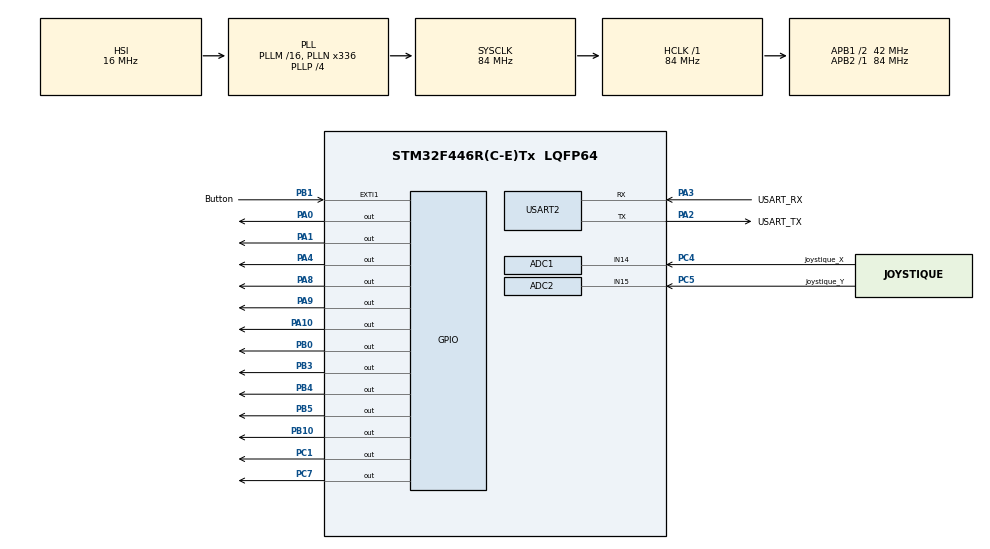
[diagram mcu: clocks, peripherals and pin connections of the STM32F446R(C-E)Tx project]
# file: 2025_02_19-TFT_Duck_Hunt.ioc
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ADC1.Channel-0\#ChannelRegularConversion=ADC_CHANNEL_14
ADC1.NbrOfConversionFlag=1
ADC1.Rank-0\#ChannelRegularConversion=1
ADC1.SamplingTime-0\#ChannelRegularConversion=ADC_SAMPLETIME_3CYCLES
ADC1.master=1
ADC2.Channel-0\#ChannelRegularConversion=ADC_CHANNEL_15
ADC2.NbrOfConversionFlag=1
ADC2.Rank-0\#ChannelRegularConversion=1
ADC2.SamplingTime-0\#ChannelRegularConversion=ADC_SAMPLETIME_3CYCLES
Mcu.Family=STM32F4
Mcu.Name=STM32F446R(C-E)Tx
Mcu.Package=LQFP64
NVIC.EXTI1_IRQn=true\:0\:0\:false\:false\:true\:true\:true\:true
NVIC.PriorityGroup=NVIC_PRIORITYGROUP_0
PA0-WKUP.Signal=GPIO_Output
PA1.Signal=GPIO_Output
PA10.Signal=GPIO_Output
PA13.GPIO_Label=TMS
PA13.Mode=Serial_Wire
PA13.Signal=SYS_JTMS-SWDIO
PA14.GPIO_Label=TCK
PA14.Mode=Serial_Wire
PA14.Signal=SYS_JTCK-SWCLK
PA2.GPIO_Label=USART_TX
PA2.Mode=Asynchronous
PA2.Signal=USART2_TX
PA3.GPIO_Label=USART_RX
PA3.Mode=Asynchronous
PA3.Signal=USART2_RX
PA4.Signal=GPIO_Output
PA8.Signal=GPIO_Output
PA9.Signal=GPIO_Output
PB0.Signal=GPIO_Output
PB1.GPIO_Label=Button
PB1.GPIO_ModeDefaultEXTI=GPIO_MODE_IT_FALLING
PB1.Signal=GPXTI1
PB10.Signal=GPIO_Output
PB3.Signal=GPIO_Output
PB4.Signal=GPIO_Output
PB5.Signal=GPIO_Output
PC1.Signal=GPIO_Output
PC14-OSC32_IN.Mode=LSE-External-Oscillator
PC14-OSC32_IN.Signal=RCC_OSC32_IN
PC15-OSC32_OUT.Mode=LSE-External-Oscillator
PC15-OSC32_OUT.Signal=RCC_OSC32_OUT
PC4.GPIO_Label=Joystique_X
PC4.Signal=ADCx_IN14
PC5.GPIO_Label=Joystique_Y
PC5.Signal=ADCx_IN15
PC7.Signal=GPIO_Output
PH0-OSC_IN.Mode=HSE-External-Oscillator
PH0-OSC_IN.Signal=RCC_OSC_IN
PH1-OSC_OUT.Mode=HSE-External-Oscillator
PH1-OSC_OUT.Signal=RCC_OSC_OUT
ProjectManager.HeapSize=0x200
ProjectManager.StackSize=0x400
ProjectManager.TargetToolchain=STM32CubeIDE
RCC.48MHZClocksFreq_Value=84000000
RCC.AHBFreq_Value=84000000
RCC.APB1CLKDivider=RCC_HCLK_DIV2
RCC.APB1Freq_Value=42000000
RCC.APB1TimFreq_Value=84000000
RCC.APB2Freq_Value=84000000
RCC.APB2TimFreq_Value=84000000
RCC.CortexFreq_Value=84000000
RCC.FLatency-AdvancedSettings=FLASH_LATENCY_2
RCC.HCLKFreq_Value=84000000
RCC.HSE_VALUE=8000000
RCC.HSI_VALUE=16000000
RCC.PLLN=336
RCC.PLLP=RCC_PLLP_DIV4
RCC.SYSCLKFreq_VALUE=84000000
RCC.SYSCLKSource=RCC_SYSCLKSOURCE_PLLCLK
RCC.USBFreq_Value=168000000
RCC.VCOOutputFreq_Value=336000000
SH.ADCx_IN14.0=ADC1_IN14,IN14
SH.ADCx_IN15.0=ADC2_IN15,IN15
TIM1.AutoReloadPreload=TIM_AUTORELOAD_PRELOAD_ENABLE
TIM1.Period=0xFFFF-1
TIM1.Prescaler=84-1
USART2.VirtualMode=VM_ASYNC
VP_TIM1_VS_ClockSourceINT.Mode=Internal
board=NUCLEO-F446RE

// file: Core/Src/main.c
/* USER CODE BEGIN Header */
/**
  ******************************************************************************
  * @modify    		: 02/27/2025
  * @version		: V2.2
  * @project        : Duck_Hunt
  * @designer       : André_Arino
  * @start data    	: 02/19/2025
  * @file           : main.c
  * @brief          : Main program body
  * @Hardware       : Nucleo F446RE Development Kit
  * @Dependences    : TFT Lib | Duck.c and Target.c Vectors Imagens
  ******************************************************************************
  * @attention
  *
  * Copyright (c) 2025 STMicroelectronics.
  * All rights reserved.
  *
  * This software is licensed under terms that can be found in the LICENSE file
  * in the root directory of this software component.
  * If no LICENSE file comes with this software, it is provided AS-IS.
  *
  ******************************************************************************
  */
/* USER CODE END Header */
#include "main.h"

/* USER CODE BEGIN Includes */
#include "fonts.h"	// Biblioteca de Fontes para TFT
#include "tft.h"	// Biblioteca para TFT
#include "user_setting.h"	// Biblioteca de Ajustes para o TFT
#include "stdlib.h"	// Inclusão de stdlib.h para alocação de memória
#include "stm32f4xx_hal_adc.h" // Inclusão de API para ADC
/* USER CODE END Includes */

/* USER CODE BEGIN PTD */

// Cria struct de 2 elementos para guardar endereços e dados das matrizes de alocação dinâmica
typedef struct {
    int32_t address;
    int32_t address_x;
    int32_t address_y;
    uint16_t data;
} Element;

/* USER CODE END PTD */

/* USER CODE BEGIN PD */
uint16_t ID=0;
/* USER CODE END PD */

ADC_HandleTypeDef hadc1;
ADC_HandleTypeDef hadc2;

TIM_HandleTypeDef htim1;

UART_HandleTypeDef huart2;

/* USER CODE BEGIN PV */
// Vetores das Imagens
extern const unsigned short Duck[76800];	// Carrega Imagem Pato (Imagem de Fundo)
extern const unsigned short Target[76800];	// Carrega Imagem Mira (Imagem Flutuante)

// Variável para mensagens de debug
volatile char Transmissao[100]; // Variável para enviar mensagens de debug

// Variáveis Auxiliares do Programa
volatile int32_t i = 0;

// Variáveis ADC
volatile uint8_t cad_ch = 0;	// Seleciona canal do leitura do ADC
volatile uint8_t cad = 0;	// guarda valor analógico do ADC
volatile uint8_t cad_x = 0;	// guarda valor analógico do joystik x
volatile uint8_t cad_y = 0;	// guarda valor analógico do joystik y
volatile uint8_t joystique_x = 0;	// Variável para leitura do eixo x do joystique
volatile uint8_t joystique_y = 0;	// Variável para leitura do eixo y do joystique

// Flag para Interrupção no botão
volatile uint8_t shot = 0;	// Variável para leitura do botão do joystique

// Variáveis de Deslocamento do Objeto
volatile int32_t n_Object = 0;	// Define número de elementos da Matriz Object
volatile int32_t x_pixel_max = 0x00000000;  // Variável para obter a posição máxima x do pixel do Objeto
volatile int32_t x_pixel_min = 2147483647;  // Variável para obter a posição mínima x do pixel do Objeto
volatile int32_t y_pixel_max = 0x00000000;  // Variável para obter a posição máxima y do pixel do Objeto
volatile int32_t y_pixel_min = 2147483647;  // Variável para obter a posição mínima y do pixel do Objeto
volatile int32_t cx_pixel = 0;  // Variável para obter a posição central de x do pixel do Objeto
volatile int32_t cy_pixel = 0;  // Variável para obter a posição central de y do pixel do Objeto
volatile int32_t shift_x = 0;	// guarda valor analógico do joystik x
volatile int32_t shift_y = 0;	// guarda valor analógico do joystik y

/* USER CODE END PV */

void SystemClock_Config(void);
static void MX_GPIO_Init(void);
static void MX_USART2_UART_Init(void);
static void MX_TIM1_Init(void);
static void MX_ADC1_Init(void);
static void MX_ADC2_Init(void);
/* USER CODE BEGIN PFP */
uint16_t ADC_Value(uint8_t ch);
/* USER CODE END PFP */

int main(void)
{

  /* MCU Configuration--------------------------------------------------------*/

  /* Reset of all peripherals, Initializes the Flash interface and the Systick. */
  HAL_Init();

  /* USER CODE BEGIN Init */
  __set_BASEPRI (1);	// Seta Basepri para Interrupção
  // __set_PRIMASK (0);	// Nível Primask para Interrupção
  // __set_FAULTMASK (0);	// Nível Faultmask para Interrupção
  /* USER CODE END Init */

  /* Configure the system clock */
  SystemClock_Config();

  /* Initialize all configured peripherals */
  MX_GPIO_Init();
  MX_USART2_UART_Init();
  MX_TIM1_Init();
  MX_ADC1_Init();
  MX_ADC2_Init();
  /* USER CODE BEGIN 2 */
  //Sequência de inicialização do LCD
  tft_gpio_init(); //Inicializa os GPIOs do LCD (evita uso do CubeMX)
  HAL_TIM_Base_Start(&htim1); //Inicializa o Timer1 (base de tempo de us do LCD)
  ID = tft_readID(); //Lê o ID do LCD (poderia ser chamada pela inicialização do LCD)
  HAL_Delay(100);
  tft_init (ID); //Inicializa o LCD de acordo com seu ID
  tft_setRotation(3); //Ajusta a orientação da tela
  tft_fillScreen(BLACK); //Preenche a tela em uma só cor

  // Imprime no TFT o fundo da Imagem
  tft_drawRGBBitmap(1, 240, Duck, 320, 240);

  //Teste de Crição da Matriz do Objeto
  HAL_Delay(1000);	// Aguarda 1 segundo

  n_Object = 0;
  /* Análise e geração de matriz dinâmica para objeto*/
  for (i = 0; i < 76800; i++) // Percorre o tamanho da imagem
  {
	  if(Target[i] != 0xFFFF)	// Procura elementos diferentes de Branco
	  {
		  n_Object++;	// Incrementa tamanho do
	  }
  }

  // Informa o tamanho da matriz e quantidade de bytes ocupados pela serial de debug
//  sprintf(&Transmissao,"A Matriz Object Possui: %u Elemetros com %u bytes.\r\n", n_Object, (n_Object*32));
//  HAL_UART_Transmit(&huart2, (uint8_t *)Transmissao, strlen(Transmissao), HAL_MAX_DELAY);

  // Cria Matriz dinâmico para guardar Pixels e Endereços da Imagem Flutuante
  Element *arr_Object = (Element *)malloc(n_Object * sizeof(Element));
  Element *arr_Recovery = (Element *)malloc(n_Object * sizeof(Element));
  n_Object = 0;
  for (i = 0; i < 76800; i++) // Percorre o tamanho da imagem
  {
	  if(Target[i] != 0xFFFF)	// Procura elementos diferentes de Branco
	  {
		  arr_Object[n_Object].address = (i+1);	// Insere o endereço do vetor do pixel linha n_Object da Matriz
		  arr_Recovery[n_Object].address = (i+1);	// Guarda o endereço do vetor do pixel linha n_Object da Matriz
		  arr_Object[n_Object].address_x = ((i+1)-((i/320)*320));	// Insere o endereço y do pixel linha n_Object da Matriz
		  arr_Recovery[n_Object].address_x = ((i+1)-((i/320)*320));	// Guarda o endereço do vetor do pixel linha n_Object da Matriz
		  // Guarda Valores de endereço x máximo e mínimo
		  if(x_pixel_max <= arr_Object[n_Object].address_x)
		  {
			  x_pixel_max = arr_Object[n_Object].address_x;
		  }
		  if(x_pixel_min >= arr_Object[n_Object].address_x)
		  {
			  x_pixel_min = arr_Object[n_Object].address_x;
		  }
		  arr_Object[n_Object].address_y = ((i+1)/320);	// Insere o endereço y do pixel linha n_Object da Matriz
		  arr_Recovery[n_Object].address_y = ((i+1)/320);	// Insere o endereço y do pixel linha n_Object da Matriz
		  // Guarda Valores de endereço y máximo e mínimo
		  if(y_pixel_max <= arr_Object[n_Object].address_y)
		  {
			  y_pixel_max = arr_Object[n_Object].address_y;
		  }
		  if(y_pixel_min >= arr_Object[n_Object].address_y)
		  {
			  y_pixel_min = arr_Object[n_Object].address_y;
		  }
		  arr_Object[n_Object].data = Target[i]; // Insere o valor do pixel linha n_Object da Matriz
		  arr_Recovery[n_Object].data = Duck[i]; // Guarda o valor do pixel linha n_Object da Matriz
		  // imprime objeto no TFT
		  tft_drawPixel(arr_Object[n_Object].address_x, arr_Object[n_Object].address_y, arr_Object[n_Object].data);
//		  sprintf(&Transmissao,"Objeto: x %u | y %u | vetor %X | valor %X.\r\n",
//		  arr_Object[n_Object].address_x, arr_Object[n_Object].address_y, arr_Object[n_Object].address, arr_Object[n_Object].data);
//		  HAL_UART_Transmit(&huart2, (uint8_t *)Transmissao, strlen(Transmissao), HAL_MAX_DELAY);
//		  sprintf(&Transmissao,"Fundo: x %u | y %u | vetor %X | valor %X.\r\n",
//		  arr_Recovery[n_Object].address_x, arr_Recovery[n_Object].address_y, arr_Recovery[n_Object].address, arr_Recovery[n_Object].data);
//		  HAL_UART_Transmit(&huart2, (uint8_t *)Transmissao, strlen(Transmissao), HAL_MAX_DELAY);
		  n_Object++;	// Incrementa tamanho do tamanho da matriz
	  }
  }
  // Obtem os a posição central do objeto
  cx_pixel = ((x_pixel_max - x_pixel_min)/2);
  cy_pixel = ((y_pixel_max - y_pixel_min)/2);

// 	Informa as posições x e y máximas e mínimas do objeto e a posição central
//  sprintf(&Transmissao,"Object Possui: x_min %u | x_max %u | y_min %u | y_min %u | x_centro %u | x_centro %u.\r\n",
//		  x_pixel_min, x_pixel_max, y_pixel_min, y_pixel_max, cx_pixel, cy_pixel);
//  HAL_UART_Transmit(&huart2, (uint8_t *)Transmissao, strlen(Transmissao), HAL_MAX_DELAY);

  /* USER CODE END 2 */

  /* Infinite loop */
  /* USER CODE BEGIN WHILE */
  while (1)
  {
	 // tratamento da interrupção (Botão PB1 - tiro)
	 if(shot == 1)	// Caso a interrupção tenha sido ativada, o valor de shot será 1
	 {
		 tft_drawCircle(cx_pixel, cy_pixel, 5, RED);	// imprime um círculo de 5 pixel de diâmetro no centro do objeto
		 shot = 0;	// limpa flag
	 }

	 // Leitura dos valores do Joystick x e y (valores centrais por volta de 25 contagens com valores entre 0 e 255)
	 cad_ch = 1; // Seleciona o canal
	 cad_x = ADC_Value(cad_ch);	// Envia número de canal a função e guarda o valor lido na variável cad_x
//	 sprintf(&Transmissao,"ADC X = %u V.\r\n", cad_x);
//	 HAL_UART_Transmit(&huart2, (uint8_t *)Transmissao, strlen(Transmissao), HAL_MAX_DELAY);
//	 HAL_Delay(1000);

	 cad_ch = 2; // Seleciona o canal
	 cad_y = ADC_Value(cad_ch);		// Envia número de canal a função e guarda o valor lido na variável cad_y
//	 sprintf(&Transmissao,"ADC Y = %u V.\r\n", cad_y);
//	 HAL_UART_Transmit(&huart2, (uint8_t *)Transmissao, strlen(Transmissao), HAL_MAX_DELAY);
//	 HAL_Delay(1000);

	 // Ajuste de Sensibilidade de velocidade de deslocamento x
	 if(cad_x >= 7 && cad_x <= 10)	// baixa sensibilidade
	 {
		 shift_x = -2;	// deloca 2 posições esquerda
	 }
	 else if(cad_x >= 0 && cad_x <= 6)	// alta sensibilidade
	 {
		 shift_x = -10;	// deloca 10 posições esquerda
	 }
	 else if(cad_x >= 26  && cad_x <= 35)		// baixa sensibilidade
	 {
		 shift_x = 2;	// deloca 2 posições direita
	 }
	 else if(cad_x >= 35 && cad_x <= 255)	// alta sensibilidade
	 {
		 shift_x = 10;	// deloca 10 posições direita
	 }
	 else	// zona entre 11 e 49
	 {
		 shift_x = 0;	// inativa (controle de ruído)
	 }
	 // Ajuste de Sensibilidade de velocidade de deslocamento y
	 if(cad_y >= 7 && cad_y <= 10)	// baixa sensibilidade
	 {
		 shift_y = -2;	// deloca 2 posições cima
	 }
	 else if(cad_y >= 0 && cad_y <= 6)	// alta sensibilidade
	 {
		 shift_y = -10;	// deloca 10 posições cima
	 }
	 else if(cad_y >= 26  && cad_y <= 35)	// baixa sensibilidade
	 {
		 shift_y = 2;	// deloca 2 posições baixo
	 }
	 else if(cad_y >= 36 && cad_y <= 255)	// alta sensibilidade
	 {
		 shift_y = 10;	// deloca 10 posições baixo
	 }
	 else	// zona entre 11 e 49
	 {
		 shift_y = 0;	// inativa (controle de ruído)
	 }

	 // tratamento de deslocamento da imagem
	 if(shift_x != 0 || shift_y != 0)	//	Caso sensibilidade do ADC seja diferente de 0
	 {
		// Avaliação das alteraçoes de X e Y
//		sprintf(&Transmissao,"Deslicamento: x %u | y %u.\r\n",
//		shift_x, shift_y);
//		HAL_UART_Transmit(&huart2, (uint8_t *)Transmissao, strlen(Transmissao), HAL_MAX_DELAY);

		// Checa se os valores somados ao deslocamento estão fora das dimenões do TFT
		if((x_pixel_min + shift_x) >= 0 && (x_pixel_max + shift_x) <= 320 &&
		   (y_pixel_min + shift_y) >= 0 && (y_pixel_max + shift_y) <= 240)
		{
			// Caso estejam dentro, segue o loop

			for (i = 0; i < n_Object; i++) // Percorre o tamanho do objeto
			{
				// Imprime matriz recovery (posições atuais da matriz objeto, com dados do fundo) - Apaga objeto anterior
				tft_drawPixel(arr_Recovery[i].address_x, arr_Recovery[i].address_y, arr_Recovery[i].data);
//			    sprintf(&Transmissao,"Fundo: x %u | y %u | vetor %X | valor %X.\r\n",
//			    arr_Recovery[i].address_x, arr_Recovery[i].address_y, arr_Recovery[i].address, arr_Recovery[i].data);
//			    HAL_UART_Transmit(&huart2, (uint8_t *)Transmissao, strlen(Transmissao), HAL_MAX_DELAY);
			}

			// Calcula os novos pontos do objeto com o deslocamento e guarda os valores do fundo da nova prosição
			for (i = 0; i < n_Object; i++) // Percorre o tamanho do objeto
			{
				arr_Object[i].address = ((arr_Object[i].address + shift_x) + (shift_y * 320));
				arr_Recovery[i].address = (arr_Object[i].address); // Guarda posição do vetor para obter o valor do fundo
				arr_Recovery[i].data = Duck[(arr_Recovery[i].address)];	 // Guada o valor do fundo com base no endereço do vetor
				arr_Object[i].address_x =  (((arr_Object[i].address)+1)-(((arr_Object[i].address)/320)*320)); // Atualiza posição x do objeto
				arr_Recovery[i].address_x = arr_Object[i].address_x; // Guarda a posição na matriz de fundo
				arr_Object[i].address_y = (((arr_Object[i].address)+1)/320); // Atualiza posição x do objeto
				arr_Recovery[i].address_y = arr_Object[i].address_y; // Guarda a posição na matriz de fundo
			}

			//	Atualiza novas posições para limitar movimentos fora do TFT
			x_pixel_min = x_pixel_min + shift_x;	// Atualiza X mínimo
			x_pixel_max = x_pixel_max + shift_x;	// Atualiza X máximo
			y_pixel_min = y_pixel_min + shift_y;	// Atualiza y mínimo
			y_pixel_max = y_pixel_max + shift_y;	// Atualiza y máximo
			cx_pixel = (((x_pixel_max - x_pixel_min)/2) + x_pixel_min);	// Atualiza ponto central x
			cy_pixel = (((y_pixel_max - y_pixel_min)/2) + y_pixel_min);	// Atualiza ponto central y

			for (int32_t i = 0; i < n_Object; i++) // Imprime objeto na nova posição
			{
				tft_drawPixel(arr_Object[i].address_x, arr_Object[i].address_y, arr_Object[i].data);
//			    sprintf(&Transmissao,"Objeto: x %u | y %u | vetor %X | valor %X.\r\n",
//			    arr_Object[i].address_x, arr_Object[i].address_y, arr_Object[i].address, arr_Object[i].data);
//			    HAL_UART_Transmit(&huart2, (uint8_t *)Transmissao, strlen(Transmissao), HAL_MAX_DELAY);

			}
		}
		// Avaliação das posições atuais de X e Y
//		sprintf(&Transmissao,"Atual: x_min %u | x_max %u | y_min %u | y_max %u.\r\n",
//		x_pixel_min, x_pixel_max, y_pixel_min, y_pixel_max);
//		HAL_UART_Transmit(&huart2, (uint8_t *)Transmissao, strlen(Transmissao), HAL_MAX_DELAY);
	 }
    /* USER CODE END WHILE */

  }
}

void SystemClock_Config(void)
{
  RCC_OscInitTypeDef RCC_OscInitStruct = {0};
  RCC_ClkInitTypeDef RCC_ClkInitStruct = {0};

  /** Configure the main internal regulator output voltage
  */
  __HAL_RCC_PWR_CLK_ENABLE();
  __HAL_PWR_VOLTAGESCALING_CONFIG(PWR_REGULATOR_VOLTAGE_SCALE3);

  /** Initializes the RCC Oscillators according to the specified parameters
  * in the RCC_OscInitTypeDef structure.
  */
  RCC_OscInitStruct.OscillatorType = RCC_OSCILLATORTYPE_HSI;
  RCC_OscInitStruct.HSIState = RCC_HSI_ON;
  RCC_OscInitStruct.HSICalibrationValue = RCC_HSICALIBRATION_DEFAULT;
  RCC_OscInitStruct.PLL.PLLState = RCC_PLL_ON;
  RCC_OscInitStruct.PLL.PLLSource = RCC_PLLSOURCE_HSI;
  RCC_OscInitStruct.PLL.PLLM = 16;
  RCC_OscInitStruct.PLL.PLLN = 336;
  RCC_OscInitStruct.PLL.PLLP = RCC_PLLP_DIV4;
  RCC_OscInitStruct.PLL.PLLQ = 2;
  RCC_OscInitStruct.PLL.PLLR = 2;
  if (HAL_RCC_OscConfig(&RCC_OscInitStruct) != HAL_OK)
  {
    Error_Handler();
  }

  /** Initializes the CPU, AHB and APB buses clocks
  */
  RCC_ClkInitStruct.ClockType = RCC_CLOCKTYPE_HCLK|RCC_CLOCKTYPE_SYSCLK
                              |RCC_CLOCKTYPE_PCLK1|RCC_CLOCKTYPE_PCLK2;
  RCC_ClkInitStruct.SYSCLKSource = RCC_SYSCLKSOURCE_PLLCLK;
  RCC_ClkInitStruct.AHBCLKDivider = RCC_SYSCLK_DIV1;
  RCC_ClkInitStruct.APB1CLKDivider = RCC_HCLK_DIV2;
  RCC_ClkInitStruct.APB2CLKDivider = RCC_HCLK_DIV1;

  if (HAL_RCC_ClockConfig(&RCC_ClkInitStruct, FLASH_LATENCY_2) != HAL_OK)
  {
    Error_Handler();
  }
}

static void MX_ADC1_Init(void)
{

  ADC_ChannelConfTypeDef sConfig = {0};

  /** Configure the global features of the ADC (Clock, Resolution, Data Alignment and number of conversion)
  */
  hadc1.Instance = ADC1;
  hadc1.Init.ClockPrescaler = ADC_CLOCK_SYNC_PCLK_DIV4;
  hadc1.Init.Resolution = ADC_RESOLUTION_12B;
  hadc1.Init.ScanConvMode = DISABLE;
  hadc1.Init.ContinuousConvMode = DISABLE;
  hadc1.Init.DiscontinuousConvMode = DISABLE;
  hadc1.Init.ExternalTrigConvEdge = ADC_EXTERNALTRIGCONVEDGE_NONE;
  hadc1.Init.ExternalTrigConv = ADC_SOFTWARE_START;
  hadc1.Init.DataAlign = ADC_DATAALIGN_RIGHT;
  hadc1.Init.NbrOfConversion = 1;
  hadc1.Init.DMAContinuousRequests = DISABLE;
  hadc1.Init.EOCSelection = ADC_EOC_SINGLE_CONV;
  if (HAL_ADC_Init(&hadc1) != HAL_OK)
  {
    Error_Handler();
  }

  /** Configure for the selected ADC regular channel its corresponding rank in the sequencer and its sample time.
  */
  sConfig.Channel = ADC_CHANNEL_14;
  sConfig.Rank = 1;
  sConfig.SamplingTime = ADC_SAMPLETIME_3CYCLES;
  if (HAL_ADC_ConfigChannel(&hadc1, &sConfig) != HAL_OK)
  {
    Error_Handler();
  }

}

static void MX_ADC2_Init(void)
{

  ADC_ChannelConfTypeDef sConfig = {0};

  /** Configure the global features of the ADC (Clock, Resolution, Data Alignment and number of conversion)
  */
  hadc2.Instance = ADC2;
  hadc2.Init.ClockPrescaler = ADC_CLOCK_SYNC_PCLK_DIV4;
  hadc2.Init.Resolution = ADC_RESOLUTION_12B;
  hadc2.Init.ScanConvMode = DISABLE;
  hadc2.Init.ContinuousConvMode = DISABLE;
  hadc2.Init.DiscontinuousConvMode = DISABLE;
  hadc2.Init.ExternalTrigConvEdge = ADC_EXTERNALTRIGCONVEDGE_NONE;
  hadc2.Init.ExternalTrigConv = ADC_SOFTWARE_START;
  hadc2.Init.DataAlign = ADC_DATAALIGN_RIGHT;
  hadc2.Init.NbrOfConversion = 1;
  hadc2.Init.DMAContinuousRequests = DISABLE;
  hadc2.Init.EOCSelection = ADC_EOC_SINGLE_CONV;
  if (HAL_ADC_Init(&hadc2) != HAL_OK)
  {
    Error_Handler();
  }

  /** Configure for the selected ADC regular channel its corresponding rank in the sequencer and its sample time.
  */
  sConfig.Channel = ADC_CHANNEL_15;
  sConfig.Rank = 1;
  sConfig.SamplingTime = ADC_SAMPLETIME_3CYCLES;
  if (HAL_ADC_ConfigChannel(&hadc2, &sConfig) != HAL_OK)
  {
    Error_Handler();
  }

}

static void MX_TIM1_Init(void)
{

  TIM_ClockConfigTypeDef sClockSourceConfig = {0};
  TIM_MasterConfigTypeDef sMasterConfig = {0};

  htim1.Instance = TIM1;
  htim1.Init.Prescaler = 84-1;
  htim1.Init.CounterMode = TIM_COUNTERMODE_UP;
  htim1.Init.Period = 0xFFFF-1;
  htim1.Init.ClockDivision = TIM_CLOCKDIVISION_DIV1;
  htim1.Init.RepetitionCounter = 0;
  htim1.Init.AutoReloadPreload = TIM_AUTORELOAD_PRELOAD_ENABLE;
  if (HAL_TIM_Base_Init(&htim1) != HAL_OK)
  {
    Error_Handler();
  }
  sClockSourceConfig.ClockSource = TIM_CLOCKSOURCE_INTERNAL;
  if (HAL_TIM_ConfigClockSource(&htim1, &sClockSourceConfig) != HAL_OK)
  {
    Error_Handler();
  }
  sMasterConfig.MasterOutputTrigger = TIM_TRGO_RESET;
  sMasterConfig.MasterSlaveMode = TIM_MASTERSLAVEMODE_DISABLE;
  if (HAL_TIMEx_MasterConfigSynchronization(&htim1, &sMasterConfig) != HAL_OK)
  {
    Error_Handler();
  }

}

static void MX_USART2_UART_Init(void)
{

  huart2.Instance = USART2;
  huart2.Init.BaudRate = 115200;
  huart2.Init.WordLength = UART_WORDLENGTH_8B;
  huart2.Init.StopBits = UART_STOPBITS_1;
  huart2.Init.Parity = UART_PARITY_NONE;
  huart2.Init.Mode = UART_MODE_TX_RX;
  huart2.Init.HwFlowCtl = UART_HWCONTROL_NONE;
  huart2.Init.OverSampling = UART_OVERSAMPLING_16;
  if (HAL_UART_Init(&huart2) != HAL_OK)
  {
    Error_Handler();
  }

}

static void MX_GPIO_Init(void)
{
  GPIO_InitTypeDef GPIO_InitStruct = {0};

  /* GPIO Ports Clock Enable */
  __HAL_RCC_GPIOC_CLK_ENABLE();
  __HAL_RCC_GPIOH_CLK_ENABLE();
  __HAL_RCC_GPIOA_CLK_ENABLE();
  __HAL_RCC_GPIOB_CLK_ENABLE();

  /*Configure GPIO pin Output Level */
  HAL_GPIO_WritePin(GPIOC, GPIO_PIN_1|GPIO_PIN_7, GPIO_PIN_RESET);

  /*Configure GPIO pin Output Level */
  HAL_GPIO_WritePin(GPIOA, GPIO_PIN_0|GPIO_PIN_1|GPIO_PIN_4|GPIO_PIN_8
                          |GPIO_PIN_9|GPIO_PIN_10, GPIO_PIN_RESET);

  /*Configure GPIO pin Output Level */
  HAL_GPIO_WritePin(GPIOB, GPIO_PIN_0|GPIO_PIN_10|GPIO_PIN_3|GPIO_PIN_4
                          |GPIO_PIN_5, GPIO_PIN_RESET);

  /*Configure GPIO pins : PC1 PC7 */
  GPIO_InitStruct.Pin = GPIO_PIN_1|GPIO_PIN_7;
  GPIO_InitStruct.Mode = GPIO_MODE_OUTPUT_PP;
  GPIO_InitStruct.Pull = GPIO_NOPULL;
  GPIO_InitStruct.Speed = GPIO_SPEED_FREQ_LOW;
  HAL_GPIO_Init(GPIOC, &GPIO_InitStruct);

  /*Configure GPIO pins : PA0 PA1 PA4 PA8
                           PA9 PA10 */
  GPIO_InitStruct.Pin = GPIO_PIN_0|GPIO_PIN_1|GPIO_PIN_4|GPIO_PIN_8
                          |GPIO_PIN_9|GPIO_PIN_10;
  GPIO_InitStruct.Mode = GPIO_MODE_OUTPUT_PP;
  GPIO_InitStruct.Pull = GPIO_NOPULL;
  GPIO_InitStruct.Speed = GPIO_SPEED_FREQ_LOW;
  HAL_GPIO_Init(GPIOA, &GPIO_InitStruct);

  /*Configure GPIO pins : PB0 PB10 PB3 PB4
                           PB5 */
  GPIO_InitStruct.Pin = GPIO_PIN_0|GPIO_PIN_10|GPIO_PIN_3|GPIO_PIN_4
                          |GPIO_PIN_5;
  GPIO_InitStruct.Mode = GPIO_MODE_OUTPUT_PP;
  GPIO_InitStruct.Pull = GPIO_NOPULL;
  GPIO_InitStruct.Speed = GPIO_SPEED_FREQ_LOW;
  HAL_GPIO_Init(GPIOB, &GPIO_InitStruct);

  /*Configure GPIO pin : Button_Pin */
  GPIO_InitStruct.Pin = Button_Pin;
  GPIO_InitStruct.Mode = GPIO_MODE_IT_FALLING;
  GPIO_InitStruct.Pull = GPIO_NOPULL;
  HAL_GPIO_Init(Button_GPIO_Port, &GPIO_InitStruct);

  /* EXTI interrupt init*/
  HAL_NVIC_SetPriority(EXTI1_IRQn, 0, 0);
  HAL_NVIC_EnableIRQ(EXTI1_IRQn);

}

/* USER CODE BEGIN 4 */

// Rotina de interrupção
void HAL_GPIO_EXTI_Callback(uint16_t GPIO_Pin)	// recebe o número do pino que causou a interrupção
{
	if(GPIO_Pin == GPIO_PIN_1) // Check if PIN is 1 (no caso PB1)
	{
		shot = 1;	// Caso positivo, atribui valor 1 a variável shot de flag da rotina principal
	}
}

//	Rotina de leitura do ADC
uint16_t ADC_Value(uint8_t ch)	// recebe o canal do ADC a ser lido e retorna valor lido
{
	switch (ch)	// checa qual canal
	{
		case 1:	// se 1 - posição X
		HAL_ADC_Start(&hadc1);	// Inicia ADC 1
		if(HAL_ADC_PollForConversion(&hadc1, 5) == HAL_OK)	// aguarda 5 ms para receber dados
		{
			cad = HAL_ADC_GetValue(&hadc1);	// guarda dados na variável cad
			HAL_Delay(50);	//	espera 50ms para a próxima leitura
			HAL_ADC_Stop(&hadc1);	// desliga ADC
			return cad;	//	retona valor da leitura para a função chamada
		}
		break;	//	encerra case 1

		case 2:	// se 2 - posição Y
		HAL_ADC_Start(&hadc2);	// Inicia ADC 2
		if(HAL_ADC_PollForConversion(&hadc2, 5) == HAL_OK)	// aguarda 5 ms para receber dados
		{
			cad = HAL_ADC_GetValue(&hadc2);	// guarda dados na variável cad
			HAL_Delay(50);	//	espera 50ms para a próxima leitura
			HAL_ADC_Stop(&hadc2);	// desliga ADC
			return cad;	//	retona valor da leitura para a função chamada
		}
		break;	//	encerra case 2

		default:	// caso outras
		HAL_UART_Transmit(&huart2, (uint8_t *)"Erro leitura ADC\r\n", 19, HAL_MAX_DELAY);	// Debug de Erro
		break;	//	encerra case default
	}
}

/* USER CODE END 4 */

void Error_Handler(void)
{
  __disable_irq();
  while (1)
  {
  }
}
